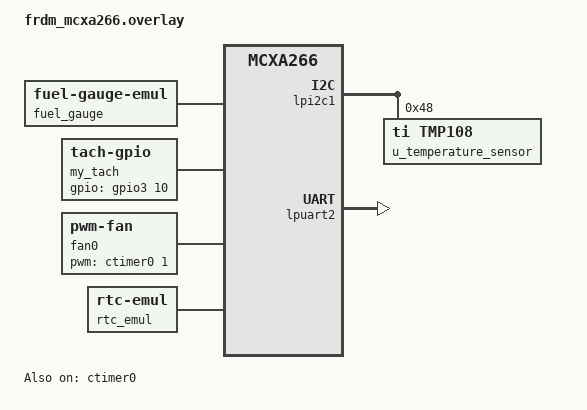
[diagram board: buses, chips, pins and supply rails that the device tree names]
#include <zephyr/dt-bindings/pwm/pwm.h>

&lpi2c1 {
	u_temperature_sensor: ti_tmp108@48 {
		compatible = "ti,tmp108";
		reg = <0x48>;
		#address-cells = <1>;
		#size-cells = <0>;
	};
};

/ {
	fuel_gauge: fuel-gauge-emul {
		compatible = "zephyr,fuel-gauge-emul";
		status = "okay";
	};
};

/ {
	my_tach: tachometer {
		compatible = "zephyr,tach-gpio";
		gpios = <&gpio3 10 (GPIO_ACTIVE_HIGH | GPIO_PULL_UP)>;
		pulses-per-round = <2>;
	};

	fan0: my-fan {
		compatible = "pwm-fan";
		pwms = <&ctimer0 1 40000 PWM_POLARITY_NORMAL>;
		max-rpm = <5000>;
		min-rpm = <0>;
		min-start-rpm = <1000>;
	};
};

/ {
	/* The actual RTC driver in zephyr */
	rtc_emul: rtc_emul {
		compatible = "zephyr,rtc-emul";
		status = "okay";
	};

	/* The Rust wrapper node */
	rs_rtc0: rs-rtc {
		compatible = "rs,rtc";
		rtc = <&rtc_emul>;
		resolution-hz = <1>;
	};
};

&pinctrl {
	ctimer0_default: ctimer0_default {
		group0 {
			pinmux = <CT0_MAT0_P2_12>;
			drive-strength = "high";
			slew-rate = "fast";
		};
	};
};

&ctimer0 {
	compatible = "nxp,ctimer-pwm";
	status = "okay";
	pinctrl-0 = <&ctimer0_default>;
	pinctrl-names = "default";
	#pwm-cells = <3>;
	prescaler = <1>;
};

u_uart: &lpuart2 {
	status = "okay";
};



